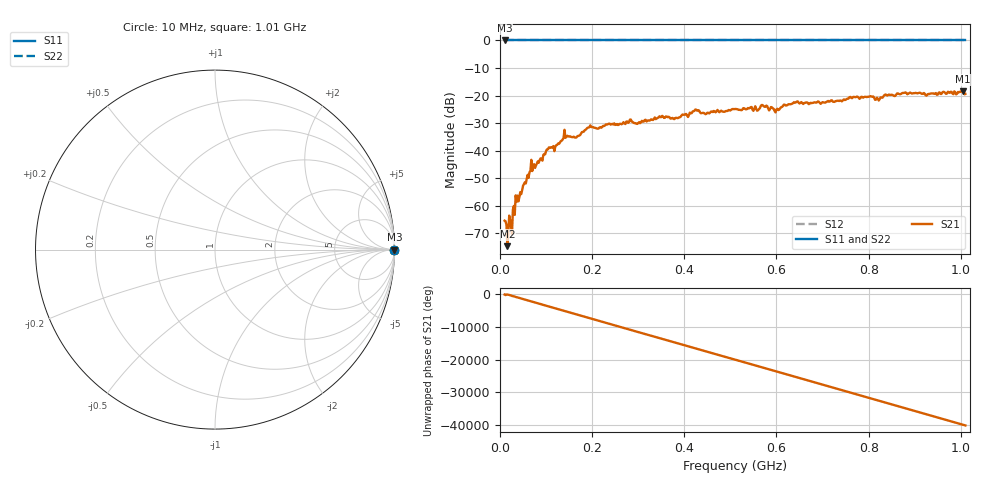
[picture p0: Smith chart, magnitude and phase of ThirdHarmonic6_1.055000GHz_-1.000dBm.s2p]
! 8/16/2025 9:22:50 AM
! C:\ANRITSUVNA\TEMP\TEMP.S2P
! CHANNEL.1
! TR.MEASUREMENT
! RAW.DATA
! RF.CORRECTION.OFF
! AVERAGING.OFF
! IF.BANDWIDTH: 5KHZ
! SWEEPTYPE:  FREQ.SWEEP(Linear)
! Reference Plane Port Info
! PORT:  PORT1  PORT2
! DISTANCE:  0  m  0  m
! TIME:  0  s  0  s
! PHASE.OFFSET:  0  deg.  0  deg.
! LOSS:  0  dB  0  dB
! REF.LOSS:  0  dB  0  dB
! REF.FREQ:  0  Hz  0  Hz
! Power Info
! POWER:  -20  dBm  -20  dBm
! EFF.POWER:  -20  dBm  -20  dBm
! SOURCE.ATTEN:  0  dB  0  dB
! TEST.ATTEN:  0  dB  0  dB
# GHZ S RI R 50.0
! FREQ.GHZ  S11RE  S11IM  S21RE  S21IM  S12RE  S12IM  S22RE  S22IM
!; PortSelection: Port_12
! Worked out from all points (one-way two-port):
!   501 points, 10 MHz to 1.01 GHz, reference 50 ohm
!   highest |S21| = -18.46 dB at 1.004 GHz (marker M1); lowest = -74.7 dB at 16 MHz (marker M2)
!   lowest |S11| = 0.0 dB at 10 MHz (marker M3)
!   |S11| at or under -10 dB: nowhere
!   |S22| runs from 0.0 to 0.0 dB; largest |S21 - S12| = 1.1
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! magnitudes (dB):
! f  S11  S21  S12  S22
! 10 MHz  0.0  -65.4  0.0  0.0
! 14 MHz  0.0  -67.0  0.0  0.0
! 16 MHz  0.0  -74.7  0.0  0.0
! 20 MHz  0.0  -63.6  0.0  0.0
! 28 MHz  0.0  -61.4  0.0  0.0
! 34 MHz  0.0  -56.2  0.0  0.0
! 70 MHz  0.0  -47.4  0.0  0.0
! 142 MHz  0.0  -35.4  0.0  0.0
! 162 MHz  0.0  -35.3  0.0  0.0
! 178 MHz  0.0  -33.3  0.0  0.0
! 194 MHz  0.0  -31.5  0.0  0.0
! 344 MHz  0.0  -28.0  0.0  0.0
! 382 MHz  0.0  -28.1  0.0  0.0
! 426 MHz  0.0  -25.2  0.0  0.0
! 510 MHz  0.0  -24.9  0.0  0.0
! 570 MHz  0.0  -23.5  0.0  0.0
! 600 MHz  0.0  -25.0  0.0  0.0
! 642 MHz  0.0  -22.5  0.0  0.0
! 678 MHz  0.0  -22.7  0.0  0.0
! 844 MHz  0.0  -19.7  0.0  0.0
! 1.004 GHz  0.0  -18.5  0.0  0.0
! 1.01 GHz  0.0  -19.4  0.0  0.0
